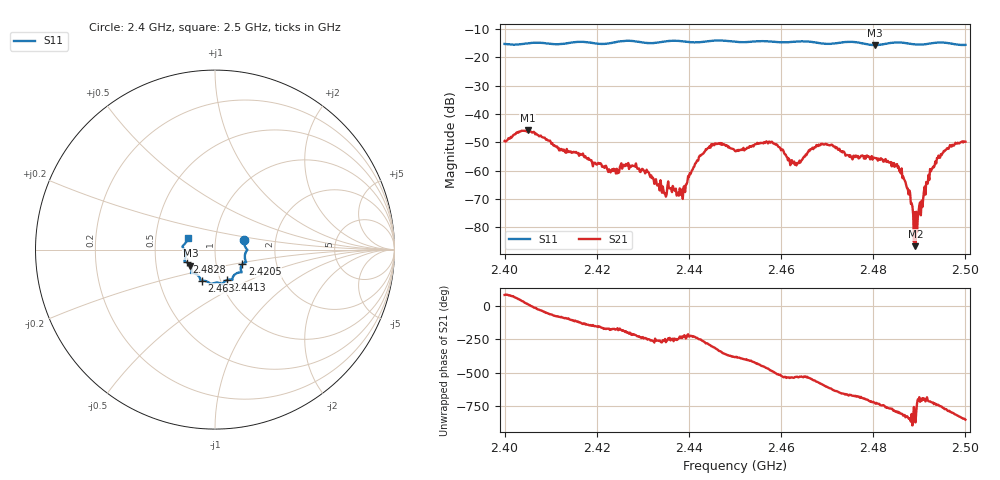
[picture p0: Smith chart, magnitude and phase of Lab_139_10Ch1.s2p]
# Hz S RI R 50
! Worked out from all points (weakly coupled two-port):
!   601 points, 2.4 GHz to 2.5 GHz, reference 50 ohm
!   highest |S21| = -45.72 dB at 2.405 GHz (marker M1); lowest = -86.6 dB at 2.4892 GHz (marker M2)
!   lowest |S11| = -15.7 dB at 2.4803 GHz (marker M3), VSWR 1.39, Z = 37.4 - j6.83 ohm
!   |S11| at or under -10 dB: start of sweep to end of sweep
!   S12 and S22 are empty: the file has one direction only
!   S11 on the Smith chart (normalised r, x): 2.4 GHz: 1.38, +0.15; 2.4205 GHz: 1.34, -0.22; 2.4413 GHz: 1.08, -0.38; 2.463 GHz: 0.82, -0.29; 2.4828 GHz: 0.72, -0.10; 2.5 GHz: 0.73, +0.10
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2.4e9  0.1631 0.0526  0.000347 0.00332  0 0  0 0
2.405e9  0.1759 0.00396  0.00502 0.00124  0 0  0 0
2.416667e9  0.1735 -0.0697  -0.0012 -0.00148  0 0  0 0
2.4205e9  0.152 -0.0809  -0.0012 -0.000608  0 0  0 0
2.424333e9  0.1446 -0.1171  -0.00107 -0.000124  0 0  0 0
2.428167e9  0.1437 -0.1266  -0.000997 0.000675  0 0  0 0
2.433333e9  0.1003 -0.1515  -9.26e-05 0.000538  0 0  0 0
2.438167e9  0.0937 -0.1683  -0.000223 0.000374  0 0  0 0
2.441333e9  0.0677 -0.1696  -0.00081 0.00105  0 0  0 0
2.445333e9  0.0428 -0.191  0.00183 0.00219  0 0  0 0
2.45e9  0.0247 -0.1856  0.00202 -0.000935  0 0  0 0
2.457833e9  -0.0298 -0.1865  -0.00179 -0.00264  0 0  0 0
2.463e9  -0.072 -0.1734  -0.00126 -0.000139  0 0  0 0
2.466667e9  -0.0814 -0.1673  -0.00242 0.000387  0 0  0 0
2.470667e9  -0.1046 -0.1366  -0.00057 0.00278  0 0  0 0
2.480333e9  -0.1373 -0.0889  0.00166 -0.00021  0 0  0 0
2.482833e9  -0.1585 -0.0701  0.00111 -0.000905  0 0  0 0
2.483333e9  -0.1625 -0.0683  0.00094 -0.00104  0 0  0 0
2.486333e9  -0.1699 -0.0601  -2.95e-05 -0.000737  0 0  0 0
2.489167e9  -0.1644 -0.0335  -4.22e-05 -1.96e-05  0 0  0 0
2.493833e9  -0.1805 0.0142  0.00155 -0.000624  0 0  0 0
2.5e9  -0.152 0.064  -0.00226 -0.00231  0 0  0 0
